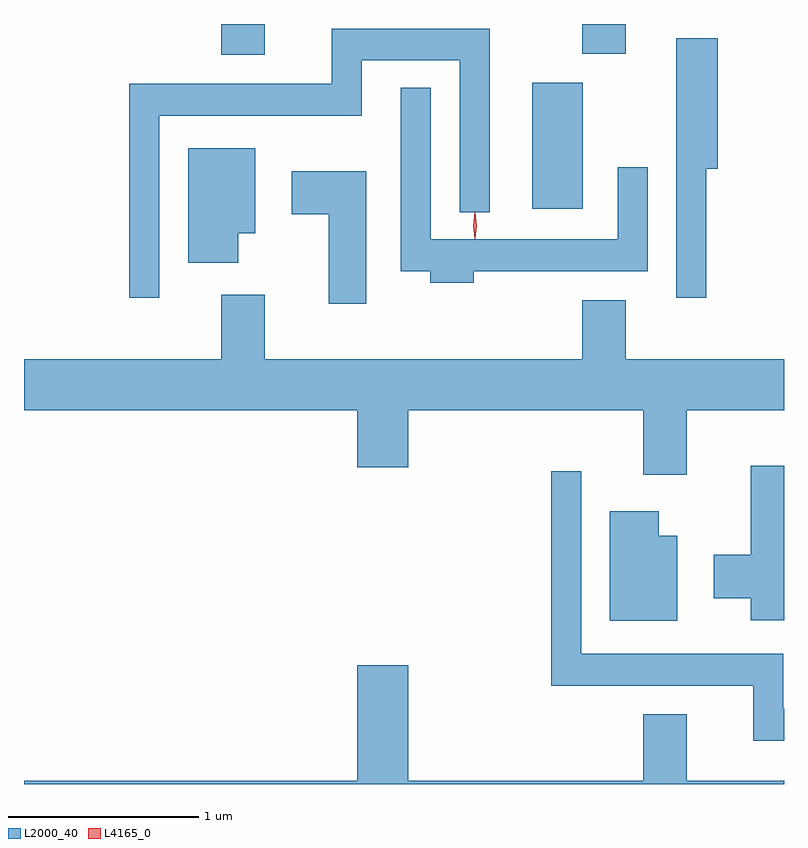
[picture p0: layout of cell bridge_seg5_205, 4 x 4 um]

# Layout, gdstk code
import gdstk
lib = gdstk.Library(unit=1e-6, precision=1e-09)
def R(c, l, rs):  # rectangles x0, y0, x1, y1
    for r in rs: c.add(gdstk.rectangle(r[:2], r[2:], *l))
def P(c, l, *ps):  # polygons
    for p in ps: c.add(gdstk.Polygon(p, *l))
L2000_40 = (2000, 40)
L4165_0 = (4165, 0)

bridge_seg5_205 = lib.new_cell('bridge_seg5_205')
R(bridge_seg5_205, L2000_40, [(1274.936,1420.116,1275.204,1420.779), (1273.301,1420.926,1273.529,1421.088), (1275.201,1420.931,1275.429,1421.088)])
P(bridge_seg5_205, L2000_40, [(1272.974,1420.606),(1274.039,1420.606),(1274.039,1420.896),(1274.556,1420.896),(1274.556,1420.098),(1274.714,1420.098),(1274.714,1421.064),(1273.881,1421.064),(1273.881,1420.774),(1272.816,1420.774),(1272.816,1419.648),(1272.974,1419.648)],
  [(1275.854,1420.326),(1275.914,1420.326),(1275.914,1421.014),(1275.696,1421.014),(1275.696,1419.648),(1275.854,1419.648)],
  [(1274.629,1419.786),(1275.544,1419.786),(1275.544,1420.333),(1275.386,1420.333),(1275.386,1419.954),(1274.404,1419.954),(1274.404,1420.753),(1274.246,1420.753),(1274.246,1419.786),(1274.401,1419.786),(1274.401,1419.726),(1274.629,1419.726)],
  [(1273.389,1419.986),(1273.479,1419.986),(1273.479,1420.434),(1273.126,1420.434),(1273.126,1419.831),(1273.389,1419.831)],
  [(1274.064,1420.314),(1273.671,1420.314),(1273.671,1420.086),(1273.866,1420.086),(1273.866,1419.616),(1274.064,1419.616)],
  [(1275.749,1419.056),(1276.262,1419.056),(1276.262,1419.324),(1275.429,1419.324),(1275.429,1419.634),(1275.201,1419.634),(1275.201,1419.324),(1273.529,1419.324),(1273.529,1419.664),(1273.301,1419.664),(1273.301,1419.324),(1272.262,1419.324),(1272.262,1419.056),(1274.016,1419.056),(1274.016,1418.756),(1274.284,1418.756),(1274.284,1419.056),(1275.521,1419.056),(1275.521,1418.716),(1275.749,1418.716)],
  [(1276.262,1418.764),(1276.086,1418.764),(1276.086,1418.294),(1275.891,1418.294),(1275.891,1418.066),(1276.086,1418.066),(1276.086,1417.951),(1276.262,1417.951)],
  [(1276.262,1417.484),(1276.259,1417.484),(1276.259,1417.774),(1275.194,1417.774),(1275.194,1418.733),(1275.036,1418.733),(1275.036,1417.606),(1276.101,1417.606),(1276.101,1417.316),(1276.262,1417.316)],
  [(1275.699,1418.394),(1275.604,1418.394),(1275.604,1418.524),(1275.346,1418.524),(1275.346,1417.946),(1275.699,1417.946)],
  [(1276.262,1417.104),(1275.749,1417.104),(1275.749,1417.454),(1275.521,1417.454),(1275.521,1417.104),(1274.284,1417.104),(1274.284,1417.714),(1274.016,1417.714),(1274.016,1417.104),(1272.262,1417.104),(1272.262,1417.088),(1276.262,1417.088)])
P(bridge_seg5_205, L4165_0, [(1274.635,1419.957),(1274.626,1420.027),(1274.635,1420.096),(1274.636,1420.096),(1274.636,1420.096),(1274.646,1420.027),(1274.636,1419.957),(1274.636,1419.957)],
  [(1274.636,1419.959),(1274.635,1419.96),(1274.626,1420.026),(1274.635,1420.092),(1274.636,1420.093),(1274.636,1420.092),(1274.646,1420.026),(1274.636,1419.96)])

lib.write_gds('bridge_seg5_205.gds')
